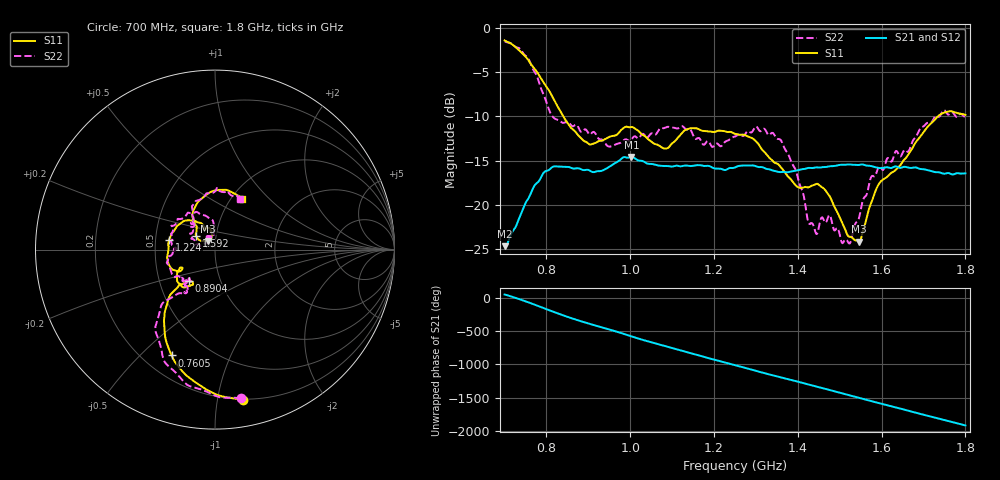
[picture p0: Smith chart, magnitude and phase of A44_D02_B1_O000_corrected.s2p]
! Created with skrf 1.9.0 (http://scikit-rf.org).
# Hz S RI R 50.0
!freq ReS11 ImS11 ReS21 ImS21 ReS12 ImS12 ReS22 ImS22
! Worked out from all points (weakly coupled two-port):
!   1601 points, 700 MHz to 1.8 GHz, reference 50 ohm
!   highest |S21| = -14.58 dB at 1.002 GHz (marker M1); lowest = -24.7 dB at 700.7 MHz (marker M2)
!   lowest |S11| = -24.2 dB at 1.546 GHz (marker M3), VSWR 1.13, Z = 46.1 + j4.49 ohm
!   |S11| at or under -10 dB: 840.1 MHz to 1.734 GHz (894.1 MHz wide, 69.5 % of centre)
!   |S22| runs from -24.4 to -1.5 dB; largest |S21 - S12| = 0.0035
!   S11 on the Smith chart (normalised r, x): 700 MHz: 0.20, -1.19; 760.5 MHz: 0.31, -0.62; 890.4 MHz: 0.70, -0.26; 1.224 GHz: 0.59, +0.07; 1.592 GHz: 0.80, +0.12; 1.8 GHz: 1.12, +0.71
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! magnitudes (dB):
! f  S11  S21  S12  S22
! 700 MHz  -1.4  -24.7  -24.5  -1.5
! 700.7 MHz  -1.4  -24.7  -24.4  -1.5
! 760.5 MHz  -3.9  -18.9  -18.8  -3.8
! 814.1 MHz  -7.8  -15.7  -15.8  -10.0
! 883.6 MHz  -12.5  -16.0  -15.9  -11.8
! 890.4 MHz  -12.8  -16.1  -16.1  -11.5
! 949.6 MHz  -12.3  -15.7  -15.7  -13.4
! 1.002 GHz  -11.2  -14.6  -14.7  -12.6
! 1.067 GHz  -13.3  -15.6  -15.5  -11.6
! 1.224 GHz  -11.7  -16.1  -16.1  -13.0
! 1.25 GHz  -12.0  -15.8  -15.7  -12.3
! 1.301 GHz  -12.9  -15.7  -15.6  -11.1
! 1.359 GHz  -15.7  -16.3  -16.3  -12.6
! 1.394 GHz  -17.8  -16.1  -16.1  -16.0
! 1.434 GHz  -17.8  -15.8  -15.8  -22.1
! 1.476 GHz  -19.0  -15.7  -15.7  -21.2
! 1.522 GHz  -23.6  -15.4  -15.5  -24.4
! 1.546 GHz  -24.2  -15.5  -15.5  -21.4
! 1.592 GHz  -17.8  -15.8  -15.8  -15.8
! 1.617 GHz  -16.7  -15.8  -15.8  -14.8
! 1.737 GHz  -9.9  -16.3  -16.4  -10.0
! 1.8 GHz  -9.8  -16.4  -16.4  -10.0
